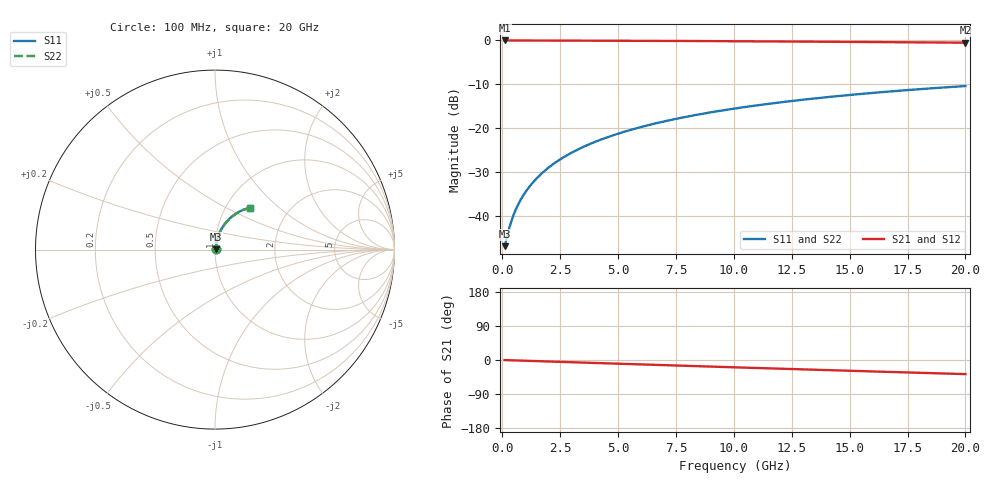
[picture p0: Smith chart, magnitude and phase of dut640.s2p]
! Touchstone file exported from HFSS 2026.1.0
!  File:  C:/ffzhzh/LocalFiles/Ansys_Project_Files/temp_train_TMRDL_640_1783009344_53980.aedt
!  Generated:  12:23:41 AM Jul  3, 2026
!  Design:  TMRDL
!  Project:  temp_train_TMRDL_640_1783009344_53980
! Variables:
!  h_bsmrdl = 2um
!  h_ox = 20um
!  h_rdl = 5um
!  h_sub = 80um
!  h_tmrdl = 2.97um
!  h_tsv = 80um
!  h_via = 3um
!  l_bsmrdl = 300um
!  l_sub = 972.36um
!  l_tmrdl = 572.36um
!  m_sub = 200um
!  pitch = 33.1um
!  r_tsv = 6um
!  s_tmrdl = 10um
!  w_bsmrdl = 18um
!  w_sub = 500um
!  w_tmrdl = 17.29um
!  x_tsv_center1 = 581.005um
!  x_tsv_center2 = 899.005um
!  x_tsv_center3 = 1488.655um
!  x_tsv_center4 = 1806.655um
!  x_tsv_center5 = 2396.305um
!  x_tsv_center6 = 2714.305um
# GHz S MA R 50.000000
! Terminal data exported
! Port[1] = TM_RDL1_1_T1
! Port[2] = TM_RDL1_1_T2
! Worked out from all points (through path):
!   200 points, 100 MHz to 20 GHz, reference 50 ohm
!   highest |S21| = -0.04 dB at 100 MHz (marker M1); lowest = -0.5 dB at 20 GHz (marker M2)
!   group delay of S21, straight-line fit = 5.17 ps
!   lowest |S11| = -46.8 dB at 100 MHz (marker M3), VSWR 1.01, Z = 50.4 + j0.201 ohm
!   |S11| at or under -10 dB: start of sweep to end of sweep
!   |S22| runs from -46.8 to -10.4 dB; largest |S21 - S12| = 2.7e-15
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0.1  0.004585 25.8  0.9959 -0.2  0.9959 -0.2  0.004585 25.8
! Gamma 0 0 0 0
! Port Impedance 50 0 50 0
0.3  0.007339 52.4  0.9956 -0.6  0.9956 -0.6  0.007339 52.4
0.4  0.008953 58.4  0.9954 -0.8  0.9954 -0.8  0.008954 58.4
0.5  0.01059 62.4  0.9952 -1.0  0.9952 -1.0  0.01059 62.4
0.6  0.01223 65.3  0.9951 -1.2  0.9951 -1.2  0.01223 65.3
0.7  0.01388 67.6  0.9949 -1.4  0.9949 -1.4  0.01388 67.6
0.9  0.01719 70.8  0.9947 -1.8  0.9947 -1.8  0.01719 70.8
1.2  0.02221 73.8  0.9945 -2.4  0.9945 -2.4  0.02222 73.8
1.4  0.02559 75.1  0.9943 -2.8  0.9943 -2.8  0.0256 75.0
1.7  0.0307 76.3  0.9941 -3.4  0.9941 -3.4  0.0307 76.3
2.2  0.03925 77.4  0.9936 -4.3  0.9936 -4.3  0.03926 77.3
2.8  0.04955 77.7  0.9929 -5.5  0.9929 -5.5  0.04955 77.7
3.5  0.06154 77.4  0.992 -6.9  0.992 -6.9  0.06154 77.4
4.2  0.07346 76.8  0.9909 -8.2  0.9909 -8.2  0.07346 76.7
5  0.08696 75.7  0.9894 -9.8  0.9894 -9.8  0.08697 75.7
5.9  0.102 74.4  0.9875 -11.5  0.9875 -11.5  0.102 74.3
6.8  0.1168 73.0  0.9854 -13.3  0.9854 -13.3  0.1168 72.9
8.3  0.1409 70.5  0.9814 -16.1  0.9814 -16.1  0.1409 70.3
10.1  0.1688 67.3  0.976 -19.5  0.976 -19.5  0.1689 67.2
13.4  0.2173 61.6  0.9649 -25.5  0.9649 -25.5  0.2173 61.4
16.7  0.2618 56.0  0.9527 -31.5  0.9527 -31.5  0.2619 55.7
20  0.3023 50.4  0.9399 -37.2  0.9399 -37.2  0.3024 50.1
